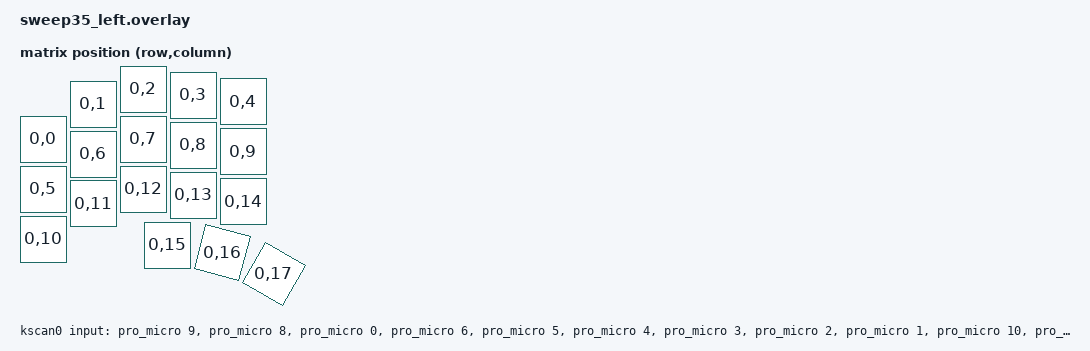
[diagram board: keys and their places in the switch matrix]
#include <physical_layouts.dtsi>
#include "sweep35.dtsi"

/ {
    chosen {
        zmk,kscan = &kscan0;
        zmk,matrix-transform = &default_transform;
        zmk,physical-layout = &sweep35_left_physical_layout;
    };

    default_transform: keymap_transform_0 {
        compatible = "zmk,matrix-transform";
        columns = <18>;
        rows = <1>;
        map = <
        RC(0,0)  RC(0,1)  RC(0,2)  RC(0,3)  RC(0,4)
        RC(0,5)  RC(0,6)  RC(0,7)  RC(0,8)  RC(0,9)
        RC(0,10) RC(0,11) RC(0,12) RC(0,13) RC(0,14)
        RC(0,15) RC(0,16) RC(0,17)
        >;
    };

    kscan0: kscan {
        compatible = "zmk,kscan-gpio-direct";
        wakeup-source;
        input-gpios
            = <&pro_micro  9 (GPIO_ACTIVE_LOW | GPIO_PULL_UP)>
            , <&pro_micro  8 (GPIO_ACTIVE_LOW | GPIO_PULL_UP)>
            , <&pro_micro  0 (GPIO_ACTIVE_LOW | GPIO_PULL_UP)>
            , <&pro_micro  6 (GPIO_ACTIVE_LOW | GPIO_PULL_UP)>
            , <&pro_micro  5 (GPIO_ACTIVE_LOW | GPIO_PULL_UP)>
            , <&pro_micro  4 (GPIO_ACTIVE_LOW | GPIO_PULL_UP)>
            , <&pro_micro  3 (GPIO_ACTIVE_LOW | GPIO_PULL_UP)>
            , <&pro_micro  2 (GPIO_ACTIVE_LOW | GPIO_PULL_UP)>
            , <&pro_micro  1 (GPIO_ACTIVE_LOW | GPIO_PULL_UP)>
            , <&pro_micro 10 (GPIO_ACTIVE_LOW | GPIO_PULL_UP)>
            , <&pro_micro 16 (GPIO_ACTIVE_LOW | GPIO_PULL_UP)>
            , <&pro_micro 14 (GPIO_ACTIVE_LOW | GPIO_PULL_UP)>
            , <&pro_micro 15 (GPIO_ACTIVE_LOW | GPIO_PULL_UP)>
            , <&pro_micro 21 (GPIO_ACTIVE_LOW | GPIO_PULL_UP)>
            , <&pro_micro 20 (GPIO_ACTIVE_LOW | GPIO_PULL_UP)>
            , <&pro_micro 19 (GPIO_ACTIVE_LOW | GPIO_PULL_UP)>
            , <&pro_micro 18 (GPIO_ACTIVE_LOW | GPIO_PULL_UP)>
            , <&pro_micro  7 (GPIO_ACTIVE_LOW | GPIO_PULL_UP)>
            ;
    };

    sweep35_left_physical_layout: sweep35_left_physical_layout {
        compatible = "zmk,physical-layout";
        display-name = "Sweep35 Left";
        kscan = <&kscan0>;
        transform = <&default_transform>;
        keys =
            <&key_physical_attrs 100 100    0  100       0     0     0>,
            <&key_physical_attrs 100 100  100   30       0     0     0>,
            <&key_physical_attrs 100 100  200    0       0     0     0>,
            <&key_physical_attrs 100 100  300   12       0     0     0>,
            <&key_physical_attrs 100 100  400   25       0     0     0>,
            <&key_physical_attrs 100 100    0  200       0     0     0>,
            <&key_physical_attrs 100 100  100  130       0     0     0>,
            <&key_physical_attrs 100 100  200  100       0     0     0>,
            <&key_physical_attrs 100 100  300  112       0     0     0>,
            <&key_physical_attrs 100 100  400  125       0     0     0>,
            <&key_physical_attrs 100 100    0  300       0     0     0>,
            <&key_physical_attrs 100 100  100  229       0     0     0>,
            <&key_physical_attrs 100 100  200  200       0     0     0>,
            <&key_physical_attrs 100 100  300  212       0     0     0>,
            <&key_physical_attrs 100 100  400  225       0     0     0>,
            <&key_physical_attrs 100 100  248  312       0     0     0>,
            <&key_physical_attrs 100 100  248  312    1500   298   789>,
            <&key_physical_attrs 100 100  248  312    3000   298   789>;
    };
};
